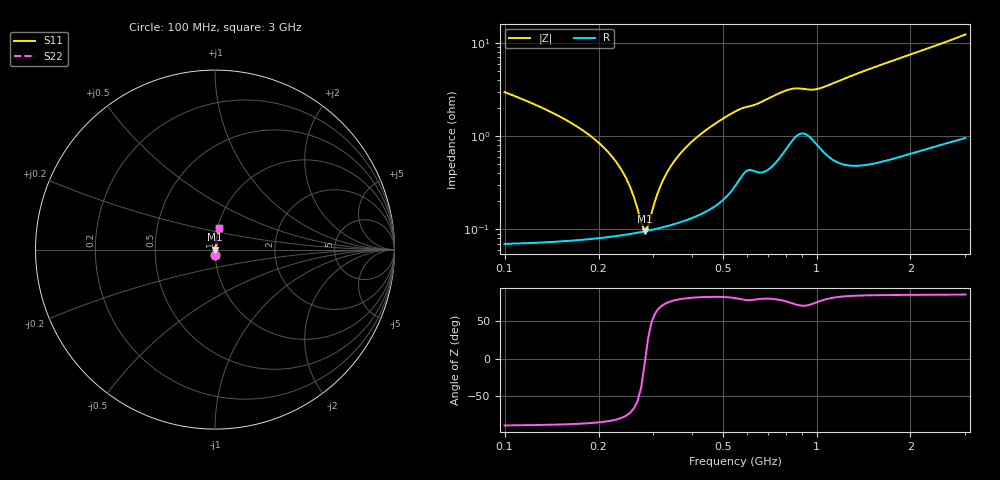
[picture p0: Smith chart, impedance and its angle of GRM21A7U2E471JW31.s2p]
!Murata Part Number: GRM21A7U2E471JW31
!These Parameters are Measured in Series Mode Connection
!Data Generated on Mar 30, 2021
!  o--ll--o
!Port1  Port2
!  o------o
!Operation Temp=25[degC], DC Bias Voltage=0[V]
!Freq. Start=100[MHz] Stop=3[GHz] 401[Steps]
# Hz S RI R 50
!Freq.(Hz) S11(Real) S11(Imag) S21(Real) S21(Imag) S12(Real) S12(Imag) S22(Real) S22(Imag)
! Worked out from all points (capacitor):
!   401 points, 100 MHz to 3 GHz, reference 50 ohm
!   read as one part in series: C = 469 pF near 114.5 MHz
!   lowest |Z| = 95.7 mohm at 281.2 MHz (marker M1)
!   series resonance near 282.4 MHz, so ESL is about 680 pH
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1e8  0.00157 -0.0296  0.9984 0.0296  0.9984 0.0296  0.00157 -0.0296
1.725e8  0.000918 -0.0123  0.9991 0.0123  0.9991 0.0123  0.000918 -0.0123
2.16e8  0.000869 -0.00654  0.9991 0.00654  0.9991 0.00654  0.000869 -0.00654
2.3775e8  0.00088 -0.00417  0.9991 0.00417  0.9991 0.00417  0.00088 -0.00417
2.6675e8  0.000921 -0.00138  0.9991 0.00138  0.9991 0.00138  0.000921 -0.00138
2.74e8  0.000935 -0.000733  0.9991 0.000733  0.9991 0.000733  0.000935 -0.000733
2.8125e8  0.00095 -0.000101  0.999 0.000101  0.999 0.000101  0.00095 -0.000101
2.885e8  0.000967 0.000515  0.999 -0.000515  0.999 -0.000515  0.000967 0.000515
2.9575e8  0.000985 0.00112  0.999 -0.00112  0.999 -0.00112  0.000985 0.00112
3.175e8  0.00105 0.00285  0.999 -0.00285  0.999 -0.00285  0.00105 0.00285
3.32e8  0.0011 0.00395  0.9989 -0.00395  0.9989 -0.00395  0.0011 0.00395
3.5375e8  0.00118 0.00554  0.9988 -0.00554  0.9988 -0.00554  0.00118 0.00554
3.8275e8  0.00131 0.00755  0.9987 -0.00755  0.9987 -0.00755  0.00131 0.00755
4.6975e8  0.00192 0.0132  0.9981 -0.0132  0.9981 -0.0132  0.00192 0.0132
5.8575e8  0.00438 0.0197  0.9956 -0.0197  0.9956 -0.0197  0.00438 0.0197
8.1775e8  0.00897 0.0301  0.991 -0.0301  0.991 -0.0301  0.00897 0.0301
9.7725e8  0.00973 0.0297  0.9903 -0.0297  0.9903 -0.0297  0.00973 0.0297
1.0715e9  0.00744 0.0332  0.9926 -0.0332  0.9926 -0.0332  0.00744 0.0332
1.55e9  0.00812 0.0547  0.9919 -0.0547  0.9919 -0.0547  0.00812 0.0547
2.03575e9  0.0122 0.075  0.9878 -0.075  0.9878 -0.075  0.0122 0.075
2.5215e9  0.0174 0.096  0.9826 -0.096  0.9826 -0.096  0.0174 0.096
3e9  0.0239 0.1188  0.9761 -0.1188  0.9761 -0.1188  0.0239 0.1188
